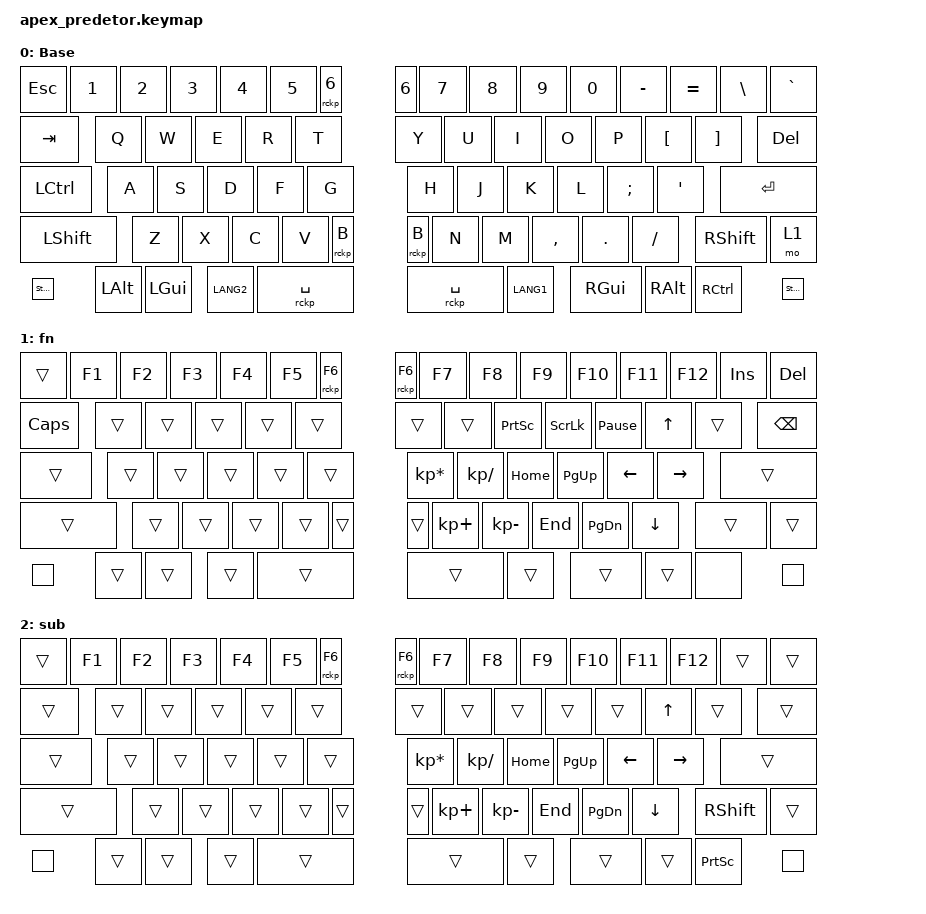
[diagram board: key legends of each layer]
#include <behaviors.dtsi>
#include <dt-bindings/zmk/keys.h>

/ {
    behaviors {
        rckp: ref_count_key_press {
            compatible = "zmk,behavior-ref-count-key-press";
            #binding-cells = <1>;
            display-name = "Ref Count Key Press";
        };
    };

    keymap {
        compatible = "zmk,keymap";

        default_layer {
            /* Diagnostic 5x14 layer shared by the dongle and both halves. */
            display-name = "Base";
            bindings = <
                &kp ESC        &kp N1    &kp N2    &kp N3    &kp N4    &kp N5      &kp N6    &kp N7    &kp N8    &kp N9    &kp N0    &kp MINUS  &kp EQUAL  &kp BSLH
                &kp TAB        &kp Q     &kp W     &kp E     &kp R     &kp T       &kp Y     &kp U     &kp I     &kp O     &kp P     &kp LBKT   &kp RBKT   &kp DEL
                &kp LCTRL      &kp A     &kp S     &kp D     &kp F     &kp G       &kp H     &kp J     &kp K     &kp L     &kp SEMI  &kp SQT    &kp ENTER  &kp GRAVE
                &kp LSHFT      &kp Z     &kp X     &kp C     &kp V     &rckp B      &rckp B    &kp N     &kp M     &kp COMMA &kp DOT   &kp FSLH   &kp RSHFT  &mo 1
                &studio_unlock &kp LALT  &kp LGUI  &kp LANG2 &rckp SPACE &rckp N6              &rckp SPACE         &kp LANG1 &kp RGUI  &kp RALT   &kp RCTRL  &studio_unlock
            >;
        };
        
        layer1 {
            /* Diagnostic 5x14 layer shared by the dongle and both halves. */
            display-name = "fn";
            bindings = <
                &trans   &kp F1  &kp F2  &kp F3  &kp F4  &kp F5  &rckp F6        &kp F7        &kp F8       &kp F9    &kp F10         &kp F11   &kp F12 &kp INS
                &kp CAPS &trans  &trans  &trans  &trans  &trans  &trans          &trans        &kp PSCRN    &kp SLCK  &kp PAUSE_BREAK &kp UP    &trans  &kp BSPC
                &trans   &trans  &trans  &trans  &trans  &trans  &kp KP_MULTIPLY &kp KP_DIVIDE &kp HOME     &kp PG_UP &kp LEFT        &kp RIGHT &trans  &kp DEL
                &trans   &trans  &trans  &trans  &trans  &trans  &trans          &kp KP_PLUS   &kp KP_MINUS &kp END   &kp PG_DN       &kp DOWN  &trans  &trans
                &none    &trans  &trans  &trans  &trans  &rckp F6                &trans                     &trans    &trans          &trans    &none   &none
            >;
        };

        layer2 {
            /* Diagnostic 5x14 layer shared by the dongle and both halves. */
            display-name = "sub";
            bindings = <
                &trans  &kp F1  &kp F2  &kp F3  &kp F4  &kp F5    &rckp F6        &kp F7        &kp F8       &kp F9    &kp F10   &kp F11   &kp F12   &trans
                &trans  &trans  &trans  &trans  &trans  &trans    &trans          &trans        &trans       &trans    &trans    &kp UP    &trans    &trans
                &trans  &trans  &trans  &trans  &trans  &trans    &kp KP_MULTIPLY &kp KP_DIVIDE &kp HOME     &kp PG_UP &kp LEFT  &kp RIGHT &trans    &trans
                &trans  &trans  &trans  &trans  &trans  &trans    &trans          &kp KP_PLUS   &kp KP_MINUS &kp END   &kp PG_DN &kp DOWN  &kp RSHFT &trans
                &none   &trans  &trans  &trans  &trans  &rckp F6                  &trans                     &trans    &trans    &trans    &kp PSCRN &none
            >;
        };
    };
};
